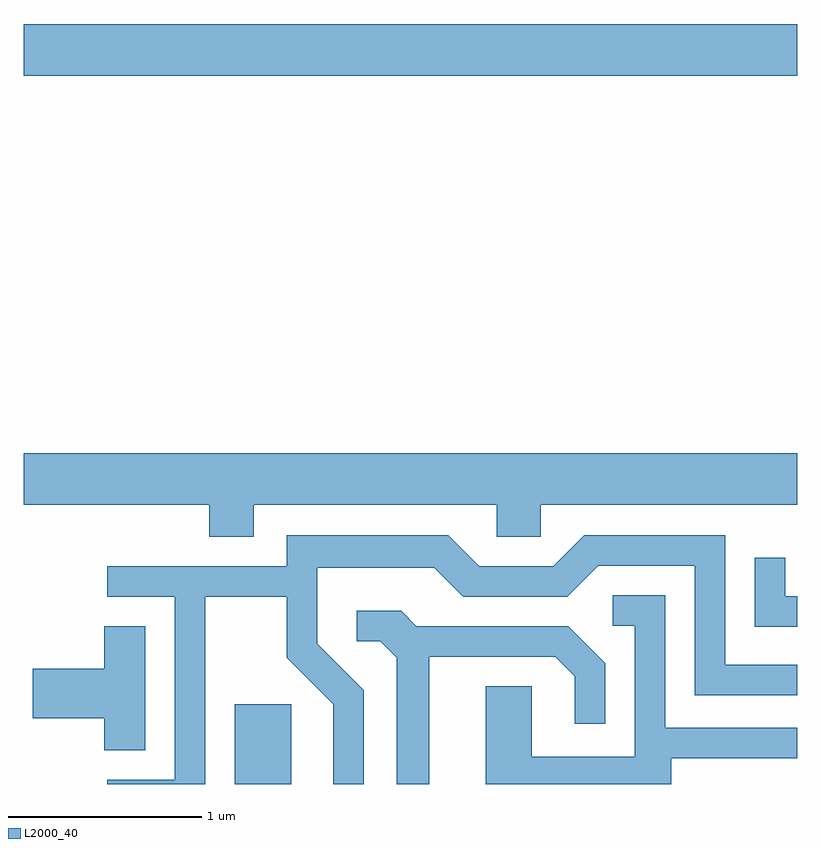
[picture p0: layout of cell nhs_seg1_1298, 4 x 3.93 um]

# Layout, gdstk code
import gdstk
lib = gdstk.Library(unit=1e-6, precision=1e-09)
def R(c, l, rs):  # rectangles x0, y0, x1, y1
    for r in rs: c.add(gdstk.rectangle(r[:2], r[2:], *l))
def P(c, l, *ps):  # polygons
    for p in ps: c.add(gdstk.Polygon(p, *l))
L2000_40 = (2000, 40)

nhs_seg1_1298 = lib.new_cell('nhs_seg1_1298')
R(nhs_seg1_1298, L2000_40, [(226.701,873.712,226.994,874.124), (225.611,877.376,229.611,877.644)])
P(nhs_seg1_1298, L2000_40, [(226.799,875.156),(228.056,875.156),(228.056,874.991),(228.284,874.991),(228.284,875.156),(229.611,875.156),(229.611,875.424),(225.611,875.424),(225.611,875.156),(226.571,875.156),(226.571,874.991),(226.799,874.991)],
  [(226.549,874.681),(226.971,874.681),(226.971,874.364),(227.211,874.124),(227.211,873.712),(227.369,873.712),(227.369,874.197),(227.129,874.437),(227.129,874.831),(227.734,874.831),(227.884,874.681),(228.422,874.681),(228.582,874.841),(229.081,874.841),(229.081,874.171),(229.611,874.171),(229.611,874.329),(229.239,874.329),(229.239,874.999),(228.509,874.999),(228.349,874.839),(227.967,874.839),(227.807,874.999),(226.971,874.999),(226.971,874.839),(226.043,874.839),(226.043,874.681),(226.391,874.681),(226.391,873.734),(226.043,873.734),(226.043,873.712),(226.549,873.712)],
  [(229.611,874.684),(229.549,874.684),(229.549,874.883),(229.391,874.883),(229.391,874.526),(229.611,874.526)],
  [(228.959,873.846),(229.611,873.846),(229.611,874.004),(228.929,874.004),(228.929,874.689),(228.658,874.689),(228.658,874.531),(228.771,874.531),(228.771,873.854),(228.239,873.854),(228.239,874.219),(228.001,874.219),(228.001,873.712),(228.959,873.712)],
  [(227.709,874.371),(228.359,874.371),(228.461,874.269),(228.461,874.023),(228.619,874.023),(228.619,874.337),(228.427,874.529),(227.642,874.529),(227.562,874.609),(227.333,874.609),(227.333,874.451),(227.454,874.451),(227.541,874.364),(227.541,873.712),(227.709,873.712)],
  [(226.239,874.529),(226.026,874.529),(226.026,874.309),(225.656,874.309),(225.656,874.051),(226.026,874.051),(226.026,873.886),(226.239,873.886)])

lib.write_gds('nhs_seg1_1298.gds')
